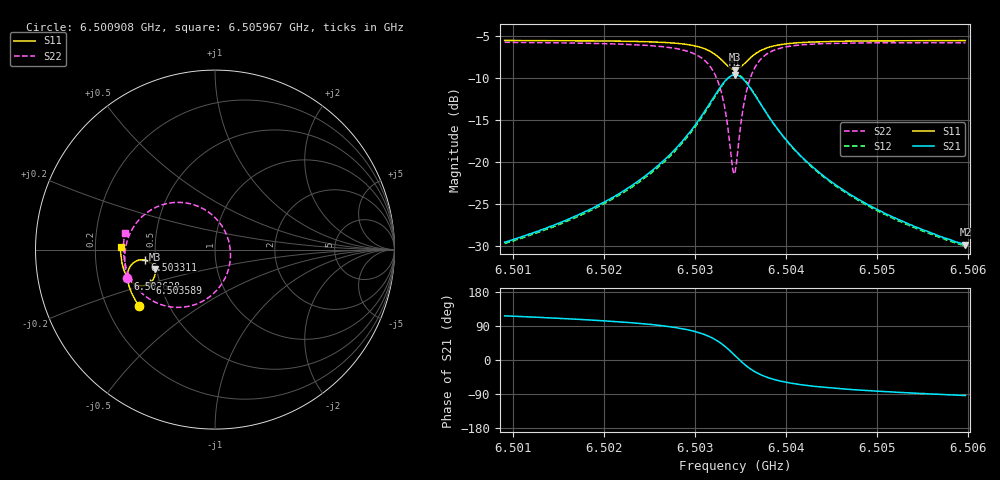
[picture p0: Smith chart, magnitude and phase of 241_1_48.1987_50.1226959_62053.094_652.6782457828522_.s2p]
#  HZ  S  RI  R  50.00
! Rohde & Schwarz Vector Network Analyzer
! Rohde-Schwarz,ZNB20-2Port,1311601062101988,3.16
! Created: UTC 3/20/2024, 11:46:51 AM
! freq[Hz]  re:S11  im:S11  re:S21  im:S21  re:S12  im:S12  re:S22  im:S22
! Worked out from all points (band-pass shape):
!   401 points, 6.500908 GHz to 6.505967 GHz, reference 50 ohm
!   highest |S21| = -9.65 dB at 6.503437 GHz (marker M1); lowest = -29.8 dB at 6.505967 GHz (marker M2)
!   |S21| within 3 dB of the highest: 6.503184 GHz to 6.50369 GHz (506.5 kHz wide, 0.00779 % of centre)
!   lowest |S11| = -9.0 dB at 6.503437 GHz (marker M3), VSWR 2.09, Z = 24.3 - j5.97 ohm
!   |S11| at or under -10 dB: nowhere
!   |S22| runs from -21.4 to -5.8 dB; largest |S21 - S12| = 0.011
!   S11 on the Smith chart (normalised r, x): 6.500908 GHz: 0.34, -0.29; 6.502628 GHz: 0.33, -0.15; 6.503311 GHz: 0.44, -0.06; 6.503589 GHz: 0.44, -0.20; 6.505967 GHz: 0.31, +0.01
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6.5009079e9  -0.4243 -0.3118  -0.0149 0.0299  -0.0133 0.03  -0.4887 -0.1579
6.5017552e9  -0.461 -0.2497  -0.0143 0.0474  -0.0119 0.0471  -0.5027 -0.0683
6.5022484e9  -0.4783 -0.2058  -0.0112 0.0684  -0.0081 0.0672  -0.4994 0.00185
6.5026025e9  -0.4867 -0.1667  -0.00249 0.0962  0.0011 0.0939  -0.4806 0.073
6.5026278e9  -0.487 -0.1634  -0.00123 0.0988  0.00245 0.0966  -0.4781 0.0792
6.5029187e9  -0.4834 -0.1187  0.026 0.1427  0.0297 0.1383  -0.4214 0.1682
6.5031084e9  -0.4621 -0.0806  0.0801 0.1848  0.0826 0.1786  -0.3178 0.2408
6.5032222e9  -0.4296 -0.0599  0.1491 0.2022  0.15 0.196  -0.1934 0.2628
6.5033107e9  -0.389 -0.0584  0.2286 0.1858  0.2289 0.1808  -0.056 0.222
6.5033487e9  -0.37 -0.0661  0.2649 0.1627  0.2657 0.1581  0.00372 0.1748
6.5034119e9  -0.3433 -0.0928  0.3123 0.0985  0.315 0.0935  0.0753 0.0512
6.5034372e9  -0.337 -0.1075  0.3224 0.0662  0.3257 0.0605  0.0858 -0.00889
6.5034625e9  -0.3341 -0.123  0.326 0.0325  0.3295 0.0257  0.0836 -0.0703
6.5035257e9  -0.3413 -0.1602  0.3077 -0.0452  0.3096 -0.0552  0.0276 -0.2054
6.503589e9  -0.3625 -0.186  0.2646 -0.0993  0.2633 -0.1105  -0.0695 -0.288
6.5036902e9  -0.402 -0.2014  0.1898 -0.135  0.1846 -0.1446  -0.2196 -0.3217
6.5038546e9  -0.4482 -0.1916  0.1083 -0.132  0.1012 -0.1369  -0.3666 -0.2747
6.5040316e9  -0.4755 -0.1703  0.0638 -0.112  0.0577 -0.1141  -0.4385 -0.2098
6.5042845e9  -0.4962 -0.1404  0.0339 -0.0876  0.0292 -0.0881  -0.4818 -0.1377
6.5046766e9  -0.5122 -0.0998  0.0145 -0.0637  0.0112 -0.0635  -0.5046 -0.0607
6.5051319e9  -0.5211 -0.0577  0.00509 -0.048  0.0026 -0.0472  -0.5102 0.00298
6.5059666e9  -0.526 0.0128  -0.00212 -0.0322  -0.00337 -0.0314  -0.5023 0.0909
